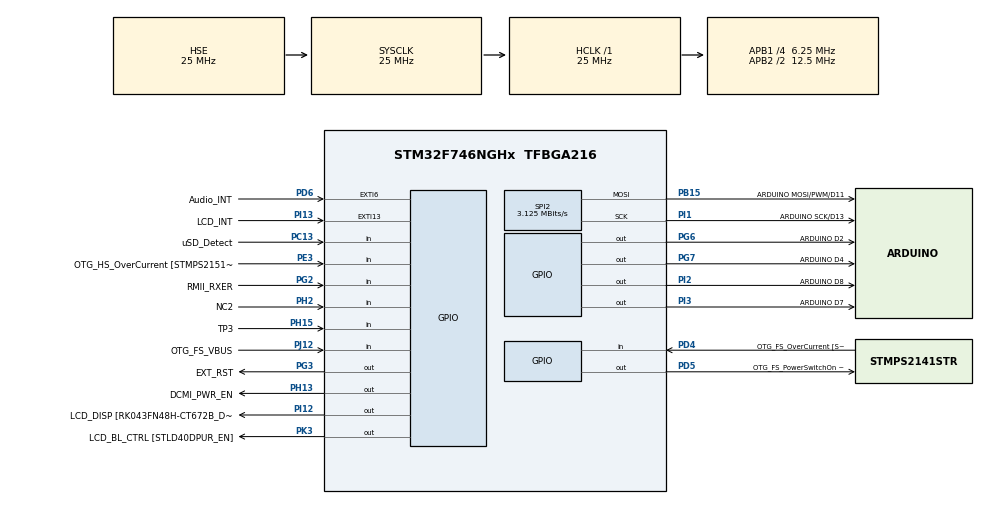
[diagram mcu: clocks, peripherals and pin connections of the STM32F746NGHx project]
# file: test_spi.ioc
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Mcu.Family=STM32F7
Mcu.Name=STM32F746NGHx
Mcu.Package=TFBGA216
NVIC.PriorityGroup=NVIC_PRIORITYGROUP_4
PA0/WKUP.GPIO_Label=ARDUINO A0
PA0/WKUP.GPIO_Mode=GPIO_MODE_ANALOG
PA0/WKUP.GPIO_PuPd=GPIO_NOPULL
PA0/WKUP.Signal=ADCx_IN0
PA1.GPIO_Label=RMII_REF_CLK [LAN8742A-CZ-TR_REFCLK0]
PA1.Signal=ETH_REF_CLK
PA10.GPIO_Label=OTG_FS_ID
PA10.Signal=USB_OTG_FS_ID
PA11.GPIO_Label=OTG_FS_N
PA11.Signal=USB_OTG_FS_DM
PA12.GPIO_Label=OTG_FS_P
PA12.Signal=USB_OTG_FS_DP
PA13.GPIO_Label=SWDIO
PA13.Signal=SYS_JTMS-SWDIO
PA14.GPIO_Label=SWCLK
PA14.Signal=SYS_JTCK-SWCLK
PA15.GPIO_Label=ARDUINO PWM/D9
PA15.GPIO_ModeDefaultPP=GPIO_MODE_AF_PP
PA15.GPIO_PuPd=GPIO_NOPULL
PA15.GPIO_Speed=GPIO_SPEED_FREQ_LOW
PA15.Signal=S_TIM2_CH1_ETR
PA2.GPIO_Label=RMII_MDIO [LAN8742A-CZ-TR_MDIO]
PA2.Signal=ETH_MDIO
PA3.GPIO_Label=ULPI_D0 [USB3320C-EZK_D0]
PA3.Signal=USB_OTG_HS_ULPI_D0
PA4.GPIO_Label=DCMI_HSYNC
PA4.Signal=DCMI_HSYNC
PA5.GPIO_Label=ULPI_CLK [USB3320C-EZK_CLKOUT]
PA5.Signal=USB_OTG_HS_ULPI_CK
PA6.Signal=DCMI_PIXCLK
PA7.GPIO_Label=RMII_CRS_DV [LAN8742A-CZ-TR_CRS_DV]
PA7.Signal=ETH_CRS_DV
PA8.GPIO_Label=ARDUINO PWM/D10
PA8.GPIO_ModeDefaultPP=GPIO_MODE_AF_PP
PA8.GPIO_PuPd=GPIO_NOPULL
PA8.GPIO_Speed=GPIO_SPEED_FREQ_LOW
PA8.Signal=S_TIM1_CH1
PA9.GPIO_Label=VCP_TX [STM32F103CBT6_PA3]
PA9.GPIO_Mode=GPIO_MODE_AF_PP
PA9.GPIO_PuPd=GPIO_NOPULL
PA9.GPIO_Speed=GPIO_SPEED_FREQ_LOW
PA9.Signal=USART1_TX
PB0.GPIO_Label=ULPI_D1 [USB3320C-EZK_D1]
PB0.Signal=USB_OTG_HS_ULPI_D1
PB1.GPIO_Label=ULPI_D2 [USB3320C-EZK_D2]
PB1.Signal=USB_OTG_HS_ULPI_D2
PB10.GPIO_Label=ULPI_D3 [USB3320C-EZK_D3]
PB10.Signal=USB_OTG_HS_ULPI_D3
PB11.GPIO_Label=ULPI_D4 [USB3320C-EZK_D4]
PB11.Signal=USB_OTG_HS_ULPI_D4
PB12.GPIO_Label=ULPI_D5 [USB3320C-EZK_D5]
PB12.Signal=USB_OTG_HS_ULPI_D5
PB13.GPIO_Label=ULPI_D6 [USB3320C-EZK_D6]
PB13.Signal=USB_OTG_HS_ULPI_D6
PB14.GPIO_Label=ARDUINO MISO/D12
PB14.GPIO_Mode=GPIO_MODE_AF_PP
PB14.GPIO_PuPd=GPIO_NOPULL
PB14.GPIO_Speed=GPIO_SPEED_FREQ_LOW
PB14.Signal=SPI2_MISO
PB15.GPIO_Label=ARDUINO MOSI/PWM/D11
PB15.GPIO_Mode=GPIO_MODE_AF_PP
PB15.GPIO_PuPd=GPIO_NOPULL
PB15.GPIO_Speed=GPIO_SPEED_FREQ_LOW
PB15.Mode=TX_Only_Simplex_Unidirect_Master
PB15.Signal=SPI2_MOSI
PB2.Signal=QUADSPI_CLK
PB3.GPIO_Label=SWO
PB3.Signal=SYS_JTDO-SWO
PB4.GPIO_Label=ARDUINO PWM/D3
PB4.GPIO_ModeDefaultPP=GPIO_MODE_AF_PP
PB4.GPIO_PuPd=GPIO_NOPULL
PB4.GPIO_Speed=GPIO_SPEED_FREQ_LOW
PB4.Signal=S_TIM3_CH1
PB5.GPIO_Label=ULPI_D7 [USB3320C-EZK_D7]
PB5.Signal=USB_OTG_HS_ULPI_D7
PB6.GPIO_Label=QSPI_NCS [N25Q128A13EF840E_S]
PB6.Signal=QUADSPI_BK1_NCS
PB7.GPIO_Label=VCP_RX [STM32F103CBT6_PA2]
PB7.GPIO_Mode=GPIO_MODE_AF_PP
PB7.GPIO_PuPd=GPIO_NOPULL
PB7.GPIO_Speed=GPIO_SPEED_FREQ_LOW
PB7.Signal=USART1_RX
PB8.GPIO_Label=ARDUINO SCL/D15
PB8.GPIO_Mode=GPIO_MODE_AF_OD
PB8.GPIO_PuPd=GPIO_NOPULL
PB8.GPIO_Speed=GPIO_SPEED_FREQ_LOW
PB8.Signal=I2C1_SCL
PB9.GPIO_Label=ARDUINO SDA/D14
PB9.GPIO_Mode=GPIO_MODE_AF_OD
PB9.GPIO_PuPd=GPIO_NOPULL
PB9.GPIO_Speed=GPIO_SPEED_FREQ_LOW
PB9.Signal=I2C1_SDA
PC0.GPIO_Label=ULPI_STP [USB3320C-EZK_STP]
PC0.Signal=USB_OTG_HS_ULPI_STP
PC1.GPIO_Label=RMII_MDC [LAN8742A-CZ-TR_MDC]
PC1.Signal=ETH_MDC
PC10.GPIO_Label=SDMMC_D2
PC10.Signal=SDMMC1_D2
PC11.GPIO_Label=SDMMC_D3
PC11.Signal=SDMMC1_D3
PC12.GPIO_Label=SDMMC_CK
PC12.Signal=SDMMC1_CK
PC13.GPIO_Label=uSD_Detect
PC13.Signal=GPIO_Input
PC14/OSC32_IN.GPIO_Label=RCC_OSC32_IN
PC14/OSC32_IN.Signal=RCC_OSC32_IN
PC15/OSC32_OUT.GPIO_Label=RCC_OSC32_OUT
PC15/OSC32_OUT.Signal=RCC_OSC32_OUT
PC2.GPIO_Label=ULPI_DIR [USB3320C-EZK_DIR]
PC2.Signal=USB_OTG_HS_ULPI_DIR
PC3.GPIO_Label=FMC_SDCKE0 [MT48LC4M32B2B5-6A_CKE]
PC3.Signal=FMC_SDCKE0
PC4.GPIO_Label=RMII_RXD0 [LAN8742A-CZ-TR_RXD0]
PC4.Signal=ETH_RXD0
PC5.GPIO_Label=RMII_RXD1 [LAN8742A-CZ-TR_RXD1]
PC5.Signal=ETH_RXD1
PC6.GPIO_Label=ARDUINO TX/D1
PC6.Signal=USART6_TX
PC7.GPIO_Label=ARDUINO RX/D0
PC7.Signal=USART6_RX
PC8.Signal=SDMMC1_D0
PC9.Signal=SDMMC1_D1
PD0.GPIO_Label=FMC_D2 [MT48LC4M32B2B5-6A_DQ2]
PD0.Signal=FMC_D2_DA2
PD1.GPIO_Label=FMC_D3 [MT48LC4M32B2B5-6A_DQ3]
PD1.Signal=FMC_D3_DA3
PD10.GPIO_Label=FMC_D15 [MT48LC4M32B2B5-6A_DQ15]
PD10.Signal=FMC_D15_DA15
PD11.GPIO_Label=QSPI_D0 [N25Q128A13EF840E_DQ0]
PD11.Signal=QUADSPI_BK1_IO0
PD12.GPIO_Label=QSPI_D1 [N25Q128A13EF840E_DQ1]
PD12.Signal=QUADSPI_BK1_IO1
PD13.GPIO_Label=QSPI_D3 [N25Q128A13EF840E_DQ3]
PD13.Signal=QUADSPI_BK1_IO3
PD14.GPIO_Label=FMC_D0 [MT48LC4M32B2B5-6A_DQ0]
PD14.Signal=FMC_D0_DA0
PD15.GPIO_Label=FMC_D1 [MT48LC4M32B2B5-6A_DQ1]
PD15.Signal=FMC_D1_DA1
PD2.GPIO_Label=SDMMC_D0
PD2.Signal=SDMMC1_CMD
PD3.GPIO_Label=DCMI_D5
PD3.Signal=DCMI_D5
PD4.GPIO_Label=OTG_FS_OverCurrent [STMPS2141STR_Fault]
PD4.Signal=GPIO_Input
PD5.GPIO_Label=OTG_FS_PowerSwitchOn [STMPS2141STR_EN]
PD5.PinState=GPIO_PIN_SET
PD5.Signal=GPIO_Output
PD6.GPIO_Label=Audio_INT
PD6.GPIO_ModeDefaultEXTI=GPIO_MODE_EVT_RISING
PD6.Signal=GPXTI6
PD7.GPIO_Label=SPDIF_RX0 [74LVC1G04SE_4]
PD7.Signal=SPDIFRX_IN0
PD8.GPIO_Label=FMC_D13 [MT48LC4M32B2B5-6A_DQ13]
PD8.Signal=FMC_D13_DA13
PD9.GPIO_Label=FMC_D14 [MT48LC4M32B2B5-6A_DQ14]
PD9.Signal=FMC_D14_DA14
PE0.GPIO_Label=FMC_NBL0 [MT48LC4M32B2B5-6A_DQM0]
PE0.Signal=FMC_NBL0
PE1.GPIO_Label=FMC_NBL1 [MT48LC4M32B2B5-6A_DQM1]
PE1.Signal=FMC_NBL1
PE10.GPIO_Label=FMC_D7 [MT48LC4M32B2B5-6A_DQ7]
PE10.Signal=FMC_D7_DA7
PE11.GPIO_Label=FMC_D8 [MT48LC4M32B2B5-6A_DQ8]
PE11.Signal=FMC_D8_DA8
PE12.GPIO_Label=FMC_D9 [MT48LC4M32B2B5-6A_DQ9]
PE12.Signal=FMC_D9_DA9
PE13.GPIO_Label=FMC_D10 [MT48LC4M32B2B5-6A_DQ10]
PE13.Signal=FMC_D10_DA10
PE14.GPIO_Label=FMC_D11 [MT48LC4M32B2B5-6A_DQ11]
PE14.Signal=FMC_D11_DA11
PE15.GPIO_Label=FMC_D12 [MT48LC4M32B2B5-6A_DQ12]
PE15.Signal=FMC_D12_DA12
PE2.GPIO_Label=QSPI_D2 [N25Q128A13EF840E_DQ2]
PE2.Signal=QUADSPI_BK1_IO2
PE3.GPIO_Label=OTG_HS_OverCurrent [STMPS2151STR_FAULT]
PE3.Signal=GPIO_Input
PE4.GPIO_Label=LCD_B0 [RK043FN48H-CT672B_B0]
PE4.Signal=LTDC_B0
PE5.GPIO_Label=DCMI_D6
PE5.Signal=DCMI_D6
PE6.GPIO_Label=DCMI_D7
PE6.Signal=DCMI_D7
PE7.GPIO_Label=FMC_D4 [MT48LC4M32B2B5-6A_DQ4]
PE7.Signal=FMC_D4_DA4
PE8.GPIO_Label=FMC_D5 [MT48LC4M32B2B5-6A_DQ5]
PE8.Signal=FMC_D5_DA5
PE9.GPIO_Label=FMC_D6 [MT48LC4M32B2B5-6A_DQ6]
PE9.Signal=FMC_D6_DA6
PF0.GPIO_Label=FMC_A0 [MT48LC4M32B2B5-6A_A0]
PF0.Signal=FMC_A0
PF1.GPIO_Label=FMC_A1 [MT48LC4M32B2B5-6A_A1]
PF1.Signal=FMC_A1
PF10.GPIO_Label=ARDUINO A1
PF10.GPIO_Mode=GPIO_MODE_ANALOG
PF10.GPIO_PuPd=GPIO_NOPULL
PF10.Signal=ADC3_IN8
PF11.GPIO_Label=FMC_SDNRAS [MT48LC4M32B2B5-6A_RAS]
PF11.Signal=FMC_SDNRAS
PF12.GPIO_Label=FMC_A6 [MT48LC4M32B2B5-6A_A6]
PF12.Signal=FMC_A6
PF13.GPIO_Label=FMC_A7 [MT48LC4M32B2B5-6A_A7]
PF13.Signal=FMC_A7
PF14.GPIO_Label=FMC_A8 [MT48LC4M32B2B5-6A_A8]
PF14.Signal=FMC_A8
PF15.GPIO_Label=FMC_A9 [MT48LC4M32B2B5-6A_A9]
PF15.Signal=FMC_A9
PF2.GPIO_Label=FMC_A2 [MT48LC4M32B2B5-6A_A2]
PF2.Signal=FMC_A2
PF3.GPIO_Label=FMC_A3 [MT48LC4M32B2B5-6A_A3]
PF3.Signal=FMC_A3
PF4.GPIO_Label=FMC_A4 [MT48LC4M32B2B5-6A_A4]
PF4.Signal=FMC_A4
PF5.GPIO_Label=FMC_A5 [MT48LC4M32B2B5-6A_A5]
PF5.Signal=FMC_A5
PF6.GPIO_Label=ARDUINO A5
PF6.GPIO_Mode=GPIO_MODE_ANALOG
PF6.GPIO_PuPd=GPIO_NOPULL
PF6.Signal=ADC3_IN4
PF7.GPIO_Label=ARDUINO A4
PF7.GPIO_Mode=GPIO_MODE_ANALOG
PF7.GPIO_PuPd=GPIO_NOPULL
PF7.Signal=ADC3_IN5
PF8.GPIO_Label=ARDUINO A3
PF8.GPIO_Mode=GPIO_MODE_ANALOG
PF8.GPIO_PuPd=GPIO_NOPULL
PF8.Signal=ADC3_IN6
PF9.GPIO_Label=ARDUINO A2
PF9.GPIO_Mode=GPIO_MODE_ANALOG
PF9.GPIO_PuPd=GPIO_NOPULL
PF9.Signal=ADC3_IN7
PG0.GPIO_Label=FMC_A10 [MT48LC4M32B2B5-6A_A10]
PG0.Signal=FMC_A10
PG1.GPIO_Label=FMC_A11 [MT48LC4M32B2B5-6A_A11]
PG1.Signal=FMC_A11
PG10.GPIO_Label=SAI2_SDB [WM8994ECS/R_ADCDAT1]
PG10.Signal=SAI2_SD_B
PG11.GPIO_Label=RMII_TX_EN [LAN8742A-CZ-TR_TXEN]
PG11.Signal=ETH_TX_EN
PG12.GPIO_Label=LCD_B4 [RK043FN48H-CT672B_B4]
PG12.Signal=LTDC_B4
PG13.GPIO_Label=RMII_TXD0 [LAN8742A-CZ-TR_TXD0]
PG13.Signal=ETH_TXD0
PG14.GPIO_Label=RMII_TXD1 [LAN8742A-CZ-TR_TXD1]
PG14.Signal=ETH_TXD1
PG15.GPIO_Label=FMC_SDNCAS [MT48LC4M32B2B5-6A_CAS]
PG15.Signal=FMC_SDNCAS
PG2.GPIO_Label=RMII_RXER
PG2.Signal=GPIO_Input
PG3.GPIO_Label=EXT_RST
PG3.Signal=GPIO_Output
PG4.GPIO_Label=FMC_BA0 [MT48LC4M32B2B5-6A_BA0]
PG4.Signal=FMC_A14_BA0
PG5.GPIO_Label=FMC_BA1 [MT48LC4M32B2B5-6A_BA1]
PG5.Signal=FMC_A15_BA1
PG6.GPIO_Label=ARDUINO D2
PG6.Signal=GPIO_Output
PG7.GPIO_Label=ARDUINO D4
PG7.Signal=GPIO_Output
PG8.GPIO_Label=FMC_SDCLK [MT48LC4M32B2B5-6A_CLK]
PG8.Signal=FMC_SDCLK
PG9.GPIO_Label=DCMI_VSYNC
PG9.Signal=DCMI_VSYNC
PH0/OSC_IN.GPIO_Label=OSC_25M [NZ2520SB-25.00M_OUT]
PH0/OSC_IN.Mode=HSE-External-Oscillator
PH0/OSC_IN.Signal=RCC_OSC_IN
PH1/OSC_OUT.Mode=HSE-External-Oscillator
PH1/OSC_OUT.Signal=RCC_OSC_OUT
PH10.GPIO_Label=DCMI_D1
PH10.Signal=DCMI_D1
PH11.GPIO_Label=DCMI_D2
PH11.Signal=DCMI_D2
PH12.GPIO_Label=DCMI_D3
PH12.Signal=DCMI_D3
PH13.GPIO_Label=DCMI_PWR_EN
PH13.Signal=GPIO_Output
PH14.GPIO_Label=DCMI_D4
PH14.Signal=DCMI_D4
PH15.GPIO_Label=TP3
PH15.Signal=GPIO_Input
PH2.GPIO_Label=NC2
PH2.Signal=GPIO_Input
PH3.GPIO_Label=FMC_SDNE0 [MT48LC4M32B2B5-6A_CS]
PH3.Signal=FMC_SDNE0
PH4.GPIO_Label=ULPI_NXT [USB3320C-EZK_NXT]
PH4.Signal=USB_OTG_HS_ULPI_NXT
PH5.GPIO_Label=FMC_SDNME [MT48LC4M32B2B5-6A_WE]
PH5.Signal=FMC_SDNWE
PH6.GPIO_Label=ARDUINO PWM/D6
PH6.Signal=S_TIM12_CH1
PH7.GPIO_Label=LCD_SCL [RK043FN48H-CT672B_SCL]
PH7.Signal=I2C3_SCL
PH8.GPIO_Label=LCD_SDA [RK043FN48H-CT672B_SDA]
PH8.Signal=I2C3_SDA
PH9.GPIO_Label=DCMI_D0
PH9.Signal=DCMI_D0
PI0.GPIO_Label=ARDUINO PWM/CS/D5
PI0.GPIO_ModeDefaultPP=GPIO_MODE_AF_PP
PI0.GPIO_PuPd=GPIO_NOPULL
PI0.GPIO_Speed=GPIO_SPEED_FREQ_LOW
PI0.Signal=S_TIM5_CH4
PI1.GPIO_Label=ARDUINO SCK/D13
PI1.GPIO_Mode=GPIO_MODE_AF_PP
PI1.GPIO_PuPd=GPIO_NOPULL
PI1.GPIO_Speed=GPIO_SPEED_FREQ_LOW
PI1.Mode=TX_Only_Simplex_Unidirect_Master
PI1.Signal=SPI2_SCK
PI10.GPIO_Label=LCD_HSYNC [RK043FN48H-CT672B_HSYNC]
PI10.Signal=LTDC_HSYNC
PI12.GPIO_Label=LCD_DISP [RK043FN48H-CT672B_DISP] 
PI12.Signal=GPIO_Output
PI13.GPIO_Label=LCD_INT
PI13.GPIO_ModeDefaultEXTI=GPIO_MODE_EVT_RISING
PI13.Signal=GPXTI13
PI14.GPIO_Label=LCD_CLK [RK043FN48H-CT672B_CLK]
PI14.Signal=LTDC_CLK
PI15.GPIO_Label=LCD_R0 [RK043FN48H-CT672B_R0]
PI15.Signal=LTDC_R0
PI2.GPIO_Label=ARDUINO D8
PI2.Signal=GPIO_Output
PI3.GPIO_Label=ARDUINO D7
PI3.Signal=GPIO_Output
PI4.GPIO_Label=SAI2_MCLKA [WM8994ECS/R_MCLK1]
PI4.Signal=SAI2_MCLK_A
PI5.GPIO_Label=SAI2_SCKA [WM8994ECS/R_BCLK1]
PI5.Signal=SAI2_SCK_A
PI6.GPIO_Label=SAI2_SDA [WM8994ECS/R_DACDAT1]
PI6.Signal=SAI2_SD_A
PI7.GPIO_Label=SAI2_FSA [WM8994ECS/R_LRCLK1]
PI7.Signal=SAI2_FS_A
PI8.GPIO_Label=NC1 [TP2]
PI8.Signal=RTC_TS
PI9.GPIO_Label=LCD_VSYNC [RK043FN48H-CT672B_VSYNC]
PI9.Signal=LTDC_VSYNC
PJ0.GPIO_Label=LCD_R1 [RK043FN48H-CT672B_R1]
PJ0.Signal=LTDC_R1
PJ1.GPIO_Label=LCD_R2 [RK043FN48H-CT672B_R2]
PJ1.Signal=LTDC_R2
PJ10.GPIO_Label=LCD_G3 [RK043FN48H-CT672B_G3]
PJ10.Signal=LTDC_G3
PJ11.GPIO_Label=LCD_G4 [RK043FN48H-CT672B_G4]
PJ11.Signal=LTDC_G4
PJ12.GPIO_Label=OTG_FS_VBUS
PJ12.Signal=GPIO_Input
PJ13.GPIO_Label=LCD_B1 [RK043FN48H-CT672B_B1]
PJ13.Signal=LTDC_B1
PJ14.GPIO_Label=LCD_B2 [RK043FN48H-CT672B_B2]
PJ14.Signal=LTDC_B2
PJ15.GPIO_Label=LCD_B3 [RK043FN48H-CT672B_B3]
PJ15.Signal=LTDC_B3
PJ2.GPIO_Label=LCD_R3 [RK043FN48H-CT672B_R3]
PJ2.Signal=LTDC_R3
PJ3.GPIO_Label=LCD_R4 [RK043FN48H-CT672B_R4]
PJ3.Signal=LTDC_R4
PJ4.GPIO_Label=LCD_R5 [RK043FN48H-CT672B_R5]
PJ4.Signal=LTDC_R5
PJ5.GPIO_Label=LCD_R6 [RK043FN48H-CT672B_R6]
PJ5.Signal=LTDC_R6
PJ6.GPIO_Label=LCD_R7 [RK043FN48H-CT672B_R7]
PJ6.Signal=LTDC_R7
PJ7.GPIO_Label=LCD_G0 [RK043FN48H-CT672B_G0]
PJ7.Signal=LTDC_G0
PJ8.GPIO_Label=LCD_G1 [RK043FN48H-CT672B_G1]
PJ8.Signal=LTDC_G1
PJ9.GPIO_Label=LCD_G2 [RK043FN48H-CT672B_G2]
PJ9.Signal=LTDC_G2
PK0.GPIO_Label=LCD_G5 [RK043FN48H-CT672B_G5]
PK0.Signal=LTDC_G5
PK1.GPIO_Label=LCD_G6 [RK043FN48H-CT672B_G6]
PK1.Signal=LTDC_G6
PK2.GPIO_Label=LCD_G7 [RK043FN48H-CT672B_G7]
PK2.Signal=LTDC_G7
PK3.GPIO_Label=LCD_BL_CTRL [STLD40DPUR_EN]
PK3.Signal=GPIO_Output
PK4.GPIO_Label=LCD_B5 [RK043FN48H-CT672B_B5]
PK4.Signal=LTDC_B5
PK5.GPIO_Label=LCD_B6 [RK043FN48H-CT672B_B6]
PK5.Signal=LTDC_B6
PK6.GPIO_Label=LCD_B7 [RK043FN48H-CT672B_B7]
PK6.Signal=LTDC_B7
PK7.GPIO_Label=LCD_DE [RK043FN48H-CT672B_DE]
PK7.Signal=LTDC_DE
ProjectManager.HeapSize=0x200
ProjectManager.StackSize=0x400
ProjectManager.TargetToolchain=TrueSTUDIO
RCC.AHBFreq_Value=25000000
RCC.APB1CLKDivider=RCC_HCLK_DIV4
RCC.APB1Freq_Value=6250000
RCC.APB1TimFreq_Value=12500000
RCC.APB2CLKDivider=RCC_HCLK_DIV2
RCC.APB2Freq_Value=12500000
RCC.APB2TimFreq_Value=25000000
RCC.CortexFreq_Value=25000000
RCC.HCLKFreq_Value=25000000
RCC.HSE_VALUE=25000000
RCC.HSI_VALUE=16000000
RCC.LSE_VALUE=32768
RCC.PLLM=10
RCC.PLLN=210
RCC.PLLSourceVirtual=RCC_PLLSOURCE_HSI
RCC.SYSCLKFreq_VALUE=25000000
RCC.SYSCLKSource=RCC_SYSCLKSOURCE_HSE
RCC.USBFreq_Value=168000000
RCC.VCOOutputFreq_Value=336000000
SH.ADCx_IN0.0=ADC3_IN0
SH.FMC_A0.0=FMC_A0
SH.FMC_A1.0=FMC_A1
SH.FMC_A10.0=FMC_A10
SH.FMC_A11.0=FMC_A11
SH.FMC_A14_BA0.0=FMC_BA0
SH.FMC_A15_BA1.0=FMC_BA1
SH.FMC_A2.0=FMC_A2
SH.FMC_A3.0=FMC_A3
SH.FMC_A4.0=FMC_A4
SH.FMC_A5.0=FMC_A5
SH.FMC_A6.0=FMC_A6
SH.FMC_A7.0=FMC_A7
SH.FMC_A8.0=FMC_A8
SH.FMC_A9.0=FMC_A9
SH.FMC_D0_DA0.0=FMC_D0
SH.FMC_D10_DA10.0=FMC_D10
SH.FMC_D11_DA11.0=FMC_D11
SH.FMC_D12_DA12.0=FMC_D12
SH.FMC_D13_DA13.0=FMC_D13
SH.FMC_D14_DA14.0=FMC_D14
SH.FMC_D15_DA15.0=FMC_D15
SH.FMC_D1_DA1.0=FMC_D1
SH.FMC_D2_DA2.0=FMC_D2
SH.FMC_D3_DA3.0=FMC_D3
SH.FMC_D4_DA4.0=FMC_D4
SH.FMC_D5_DA5.0=FMC_D5
SH.FMC_D6_DA6.0=FMC_D6
SH.FMC_D7_DA7.0=FMC_D7
SH.FMC_D8_DA8.0=FMC_D8
SH.FMC_D9_DA9.0=FMC_D9
SH.FMC_NBL0.0=FMC_NBL0
SH.FMC_NBL1.0=FMC_NBL1
SH.FMC_SDCLK.0=FMC_SDCLK
SH.FMC_SDNCAS.0=FMC_SDNCAS
SH.FMC_SDNRAS.0=FMC_SDNRAS
SH.FMC_SDNWE.0=FMC_SDNWE
SH.S_TIM12_CH1.0=TIM12_CH1
SH.S_TIM1_CH1.0=TIM1_CH1
SH.S_TIM2_CH1_ETR.0=TIM2_CH1
SH.S_TIM3_CH1.0=TIM3_CH1
SH.S_TIM5_CH4.0=TIM5_CH4
SPI2.CalculateBaudRate=3.125 MBits/s
SPI2.DataSize=SPI_DATASIZE_8BIT
SPI2.Direction=SPI_DIRECTION_2LINES
SPI2.Mode=SPI_MODE_MASTER
SPI2.VirtualType=VM_MASTER
board=STM32F746G-DISCO

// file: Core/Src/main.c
/* USER CODE BEGIN Header */
/**
  ******************************************************************************
  * @file           : main.c
  * @brief          : Main program body
  ******************************************************************************
  * @attention
  *
  * <h2><center>&copy; Copyright (c) 2021 STMicroelectronics.
  * All rights reserved.</center></h2>
  *
  * This software component is licensed by ST under BSD 3-Clause license,
  * the "License"; You may not use this file except in compliance with the
  * License. You may obtain a copy of the License at:
  *                        opensource.org/licenses/BSD-3-Clause
  *
  ******************************************************************************
  */
/* USER CODE END Header */
#include "main.h"

/* USER CODE BEGIN Includes */
#include "stm32f7xx_hal_rcc.h"
/* USER CODE END Includes */

SPI_HandleTypeDef hspi2;

void SystemClock_Config(void);
static void MX_GPIO_Init(void);
static void MX_SPI2_Init(void);

int main(void)
{

  /* MCU Configuration--------------------------------------------------------*/

  /* Reset of all peripherals, Initializes the Flash interface and the Systick. */
  HAL_Init();

  /* Configure the system clock */
  SystemClock_Config();

  /* Initialize all configured peripherals */
  MX_GPIO_Init();
  MX_SPI2_Init();
  /* USER CODE BEGIN 2 */

  RCC_APB2PeriphClockCmd(RCC_APB2Periph_GPIOB, ENABLE);
  RCC_APB2PeriphClockCmd(RCC_APB2Periph_SPI2, ENABLE);

	GPIO_InitTypeDef GPIO_InitStructure;
	SPI_InitTypeDef SPI_InitStructure;

	volatile uint32_t i;
	RCC_APB2PeriphClockCmd(RCC_APB2Periph_GPIOB| RCC_APB2Periph_AFIO, ENABLE);
	RCC_APB1PeriphClockCmd(RCC_APB1Periph_SPI2, ENABLE);

	GPIO_InitStructure.GPIO_Pin = GPIO_Pin_13 | GPIO_Pin_14 | GPIO_Pin_15;
	GPIO_InitStructure.GPIO_Speed = GPIO_Speed_50MHz;
	GPIO_InitStructure.GPIO_Mode = GPIO_Mode_AF_PP;
	GPIO_Init(GPIOB, &GPIO_InitStructure);

	GPIO_InitStructure.GPIO_Mode = GPIO_Mode_Out_PP;
	GPIO_InitStructure.GPIO_Pin = GPIO_Pin_12;
	GPIO_Init(GPIOB, &GPIO_InitStructure);
	GPIO_SetBits(GPIOB, GPIO_Pin_12);

	SPI_InitStructure.SPI_Direction = SPI_Direction_1Line_Tx;
	SPI_InitStructure.SPI_Mode = SPI_Mode_Master;
	SPI_InitStructure.SPI_DataSize = SPI_DataSize_8b;
	SPI_InitStructure.SPI_CPOL = SPI_CPOL_Low;
	SPI_InitStructure.SPI_CPHA = SPI_CPHA_1Edge;
	SPI_InitStructure.SPI_NSS = SPI_NSS_Soft;
	SPI_InitStructure.SPI_BaudRatePrescaler = SPI_BaudRatePrescaler_2;
	SPI_InitStructure.SPI_FirstBit = SPI_FirstBit_MSB;
	SPI_InitStructure.SPI_CRCPolynomial = 7;
	SPI_Init(SPI2, &SPI_InitStructure);
	SPI_Cmd(SPI2, ENABLE);

	while(1){
		for(i = 0; i < 1000000UL; i++){
			while (SPI_I2S_GetFlagStatus(SPI2, SPI_I2S_FLAG_TXE) == RESET);
			SPI_I2S_SendData(SPI2, 0x1);
		}
		for(i = 0; i < 1000000UL; i++){
			while (SPI_I2S_GetFlagStatus(SPI2, SPI_I2S_FLAG_TXE) == RESET);
			SPI_I2S_SendData(SPI2, 0x0);
		}
	 }

  /* USER CODE END 2 */

  /* Infinite loop */
  while (1)
  {

  }
}

void SystemClock_Config(void)
{
  RCC_OscInitTypeDef RCC_OscInitStruct = {0};
  RCC_ClkInitTypeDef RCC_ClkInitStruct = {0};

  /** Configure the main internal regulator output voltage
  */
  __HAL_RCC_PWR_CLK_ENABLE();
  __HAL_PWR_VOLTAGESCALING_CONFIG(PWR_REGULATOR_VOLTAGE_SCALE3);
  /** Initializes the RCC Oscillators according to the specified parameters
  * in the RCC_OscInitTypeDef structure.
  */
  RCC_OscInitStruct.OscillatorType = RCC_OSCILLATORTYPE_HSE;
  RCC_OscInitStruct.HSEState = RCC_HSE_ON;
  RCC_OscInitStruct.PLL.PLLState = RCC_PLL_NONE;
  if (HAL_RCC_OscConfig(&RCC_OscInitStruct) != HAL_OK)
  {
    Error_Handler();
  }
  /** Initializes the CPU, AHB and APB buses clocks
  */
  RCC_ClkInitStruct.ClockType = RCC_CLOCKTYPE_HCLK|RCC_CLOCKTYPE_SYSCLK
                              |RCC_CLOCKTYPE_PCLK1|RCC_CLOCKTYPE_PCLK2;
  RCC_ClkInitStruct.SYSCLKSource = RCC_SYSCLKSOURCE_HSE;
  RCC_ClkInitStruct.AHBCLKDivider = RCC_SYSCLK_DIV1;
  RCC_ClkInitStruct.APB1CLKDivider = RCC_HCLK_DIV4;
  RCC_ClkInitStruct.APB2CLKDivider = RCC_HCLK_DIV2;

  if (HAL_RCC_ClockConfig(&RCC_ClkInitStruct, FLASH_LATENCY_0) != HAL_OK)
  {
    Error_Handler();
  }
}

static void MX_SPI2_Init(void)
{

  /* SPI2 parameter configuration*/
  hspi2.Instance = SPI2;
  hspi2.Init.Mode = SPI_MODE_MASTER;
  hspi2.Init.Direction = SPI_DIRECTION_2LINES;
  hspi2.Init.DataSize = SPI_DATASIZE_8BIT;
  hspi2.Init.CLKPolarity = SPI_POLARITY_LOW;
  hspi2.Init.CLKPhase = SPI_PHASE_1EDGE;
  hspi2.Init.NSS = SPI_NSS_SOFT;
  hspi2.Init.BaudRatePrescaler = SPI_BAUDRATEPRESCALER_2;
  hspi2.Init.FirstBit = SPI_FIRSTBIT_MSB;
  hspi2.Init.TIMode = SPI_TIMODE_DISABLE;
  hspi2.Init.CRCCalculation = SPI_CRCCALCULATION_DISABLE;
  hspi2.Init.CRCPolynomial = 7;
  hspi2.Init.CRCLength = SPI_CRC_LENGTH_DATASIZE;
  hspi2.Init.NSSPMode = SPI_NSS_PULSE_ENABLE;
  if (HAL_SPI_Init(&hspi2) != HAL_OK)
  {
    Error_Handler();
  }

}

static void MX_GPIO_Init(void)
{
  GPIO_InitTypeDef GPIO_InitStruct = {0};

  /* GPIO Ports Clock Enable */
  __HAL_RCC_GPIOE_CLK_ENABLE();
  __HAL_RCC_GPIOG_CLK_ENABLE();
  __HAL_RCC_GPIOB_CLK_ENABLE();
  __HAL_RCC_GPIOD_CLK_ENABLE();
  __HAL_RCC_GPIOC_CLK_ENABLE();
  __HAL_RCC_GPIOA_CLK_ENABLE();
  __HAL_RCC_GPIOJ_CLK_ENABLE();
  __HAL_RCC_GPIOI_CLK_ENABLE();
  __HAL_RCC_GPIOK_CLK_ENABLE();
  __HAL_RCC_GPIOF_CLK_ENABLE();
  __HAL_RCC_GPIOH_CLK_ENABLE();

  /*Configure GPIO pin Output Level */
  HAL_GPIO_WritePin(OTG_FS_PowerSwitchOn_GPIO_Port, OTG_FS_PowerSwitchOn_Pin, GPIO_PIN_SET);

  /*Configure GPIO pin Output Level */
  HAL_GPIO_WritePin(GPIOI, ARDUINO_D7_Pin|ARDUINO_D8_Pin|LCD_DISP_Pin, GPIO_PIN_RESET);

  /*Configure GPIO pin Output Level */
  HAL_GPIO_WritePin(LCD_BL_CTRL_GPIO_Port, LCD_BL_CTRL_Pin, GPIO_PIN_RESET);

  /*Configure GPIO pin Output Level */
  HAL_GPIO_WritePin(DCMI_PWR_EN_GPIO_Port, DCMI_PWR_EN_Pin, GPIO_PIN_RESET);

  /*Configure GPIO pin Output Level */
  HAL_GPIO_WritePin(GPIOG, ARDUINO_D4_Pin|ARDUINO_D2_Pin|EXT_RST_Pin, GPIO_PIN_RESET);

  /*Configure GPIO pin : LCD_B0_Pin */
  GPIO_InitStruct.Pin = LCD_B0_Pin;
  GPIO_InitStruct.Mode = GPIO_MODE_AF_PP;
  GPIO_InitStruct.Pull = GPIO_NOPULL;
  GPIO_InitStruct.Speed = GPIO_SPEED_FREQ_LOW;
  GPIO_InitStruct.Alternate = GPIO_AF14_LTDC;
  HAL_GPIO_Init(LCD_B0_GPIO_Port, &GPIO_InitStruct);

  /*Configure GPIO pin : OTG_HS_OverCurrent_Pin */
  GPIO_InitStruct.Pin = OTG_HS_OverCurrent_Pin;
  GPIO_InitStruct.Mode = GPIO_MODE_INPUT;
  GPIO_InitStruct.Pull = GPIO_NOPULL;
  HAL_GPIO_Init(OTG_HS_OverCurrent_GPIO_Port, &GPIO_InitStruct);

  /*Configure GPIO pin : QSPI_D2_Pin */
  GPIO_InitStruct.Pin = QSPI_D2_Pin;
  GPIO_InitStruct.Mode = GPIO_MODE_AF_PP;
  GPIO_InitStruct.Pull = GPIO_NOPULL;
  GPIO_InitStruct.Speed = GPIO_SPEED_FREQ_VERY_HIGH;
  GPIO_InitStruct.Alternate = GPIO_AF9_QUADSPI;
  HAL_GPIO_Init(QSPI_D2_GPIO_Port, &GPIO_InitStruct);

  /*Configure GPIO pins : RMII_TXD1_Pin RMII_TXD0_Pin RMII_TX_EN_Pin */
  GPIO_InitStruct.Pin = RMII_TXD1_Pin|RMII_TXD0_Pin|RMII_TX_EN_Pin;
  GPIO_InitStruct.Mode = GPIO_MODE_AF_PP;
  GPIO_InitStruct.Pull = GPIO_NOPULL;
  GPIO_InitStruct.Speed = GPIO_SPEED_FREQ_VERY_HIGH;
  GPIO_InitStruct.Alternate = GPIO_AF11_ETH;
  HAL_GPIO_Init(GPIOG, &GPIO_InitStruct);

  /*Configure GPIO pins : FMC_NBL1_Pin FMC_NBL0_Pin FMC_D5_Pin FMC_D6_Pin
                           FMC_D8_Pin FMC_D11_Pin FMC_D4_Pin FMC_D7_Pin
                           FMC_D9_Pin FMC_D12_Pin FMC_D10_Pin */
  GPIO_InitStruct.Pin = FMC_NBL1_Pin|FMC_NBL0_Pin|FMC_D5_Pin|FMC_D6_Pin
                          |FMC_D8_Pin|FMC_D11_Pin|FMC_D4_Pin|FMC_D7_Pin
                          |FMC_D9_Pin|FMC_D12_Pin|FMC_D10_Pin;
  GPIO_InitStruct.Mode = GPIO_MODE_AF_PP;
  GPIO_InitStruct.Pull = GPIO_NOPULL;
  GPIO_InitStruct.Speed = GPIO_SPEED_FREQ_VERY_HIGH;
  GPIO_InitStruct.Alternate = GPIO_AF12_FMC;
  HAL_GPIO_Init(GPIOE, &GPIO_InitStruct);

  /*Configure GPIO pins : ARDUINO_SCL_D15_Pin ARDUINO_SDA_D14_Pin */
  GPIO_InitStruct.Pin = ARDUINO_SCL_D15_Pin|ARDUINO_SDA_D14_Pin;
  GPIO_InitStruct.Mode = GPIO_MODE_AF_OD;
  GPIO_InitStruct.Pull = GPIO_PULLUP;
  GPIO_InitStruct.Speed = GPIO_SPEED_FREQ_LOW;
  GPIO_InitStruct.Alternate = GPIO_AF4_I2C1;
  HAL_GPIO_Init(GPIOB, &GPIO_InitStruct);

  /*Configure GPIO pins : ULPI_D7_Pin ULPI_D6_Pin ULPI_D5_Pin ULPI_D3_Pin
                           ULPI_D2_Pin ULPI_D1_Pin ULPI_D4_Pin */
  GPIO_InitStruct.Pin = ULPI_D7_Pin|ULPI_D6_Pin|ULPI_D5_Pin|ULPI_D3_Pin
                          |ULPI_D2_Pin|ULPI_D1_Pin|ULPI_D4_Pin;
  GPIO_InitStruct.Mode = GPIO_MODE_AF_PP;
  GPIO_InitStruct.Pull = GPIO_NOPULL;
  GPIO_InitStruct.Speed = GPIO_SPEED_FREQ_VERY_HIGH;
  GPIO_InitStruct.Alternate = GPIO_AF10_OTG_HS;
  HAL_GPIO_Init(GPIOB, &GPIO_InitStruct);

  /*Configure GPIO pin : ARDUINO_PWM_D3_Pin */
  GPIO_InitStruct.Pin = ARDUINO_PWM_D3_Pin;
  GPIO_InitStruct.Mode = GPIO_MODE_AF_PP;
  GPIO_InitStruct.Pull = GPIO_NOPULL;
  GPIO_InitStruct.Speed = GPIO_SPEED_FREQ_LOW;
  GPIO_InitStruct.Alternate = GPIO_AF2_TIM3;
  HAL_GPIO_Init(ARDUINO_PWM_D3_GPIO_Port, &GPIO_InitStruct);

  /*Configure GPIO pin : SPDIF_RX0_Pin */
  GPIO_InitStruct.Pin = SPDIF_RX0_Pin;
  GPIO_InitStruct.Mode = GPIO_MODE_AF_PP;
  GPIO_InitStruct.Pull = GPIO_NOPULL;
  GPIO_InitStruct.Speed = GPIO_SPEED_FREQ_LOW;
  GPIO_InitStruct.Alternate = GPIO_AF8_SPDIFRX;
  HAL_GPIO_Init(SPDIF_RX0_GPIO_Port, &GPIO_InitStruct);

  /*Configure GPIO pins : SDMMC_CK_Pin SDMMC_D3_Pin SDMMC_D2_Pin PC9
                           PC8 */
  GPIO_InitStruct.Pin = SDMMC_CK_Pin|SDMMC_D3_Pin|SDMMC_D2_Pin|GPIO_PIN_9
                          |GPIO_PIN_8;
  GPIO_InitStruct.Mode = GPIO_MODE_AF_PP;
  GPIO_InitStruct.Pull = GPIO_NOPULL;
  GPIO_InitStruct.Speed = GPIO_SPEED_FREQ_VERY_HIGH;
  GPIO_InitStruct.Alternate = GPIO_AF12_SDMMC1;
  HAL_GPIO_Init(GPIOC, &GPIO_InitStruct);

  /*Configure GPIO pin : ARDUINO_PWM_D9_Pin */
  GPIO_InitStruct.Pin = ARDUINO_PWM_D9_Pin;
  GPIO_InitStruct.Mode = GPIO_MODE_AF_PP;
  GPIO_InitStruct.Pull = GPIO_NOPULL;
  GPIO_InitStruct.Speed = GPIO_SPEED_FREQ_LOW;
  GPIO_InitStruct.Alternate = GPIO_AF1_TIM2;
  HAL_GPIO_Init(ARDUINO_PWM_D9_GPIO_Port, &GPIO_InitStruct);

  /*Configure GPIO pins : DCMI_D6_Pin DCMI_D7_Pin */
  GPIO_InitStruct.Pin = DCMI_D6_Pin|DCMI_D7_Pin;
  GPIO_InitStruct.Mode = GPIO_MODE_AF_PP;
  GPIO_InitStruct.Pull = GPIO_NOPULL;
  GPIO_InitStruct.Speed = GPIO_SPEED_FREQ_LOW;
  GPIO_InitStruct.Alternate = GPIO_AF13_DCMI;
  HAL_GPIO_Init(GPIOE, &GPIO_InitStruct);

  /*Configure GPIO pin : VCP_RX_Pin */
  GPIO_InitStruct.Pin = VCP_RX_Pin;
  GPIO_InitStruct.Mode = GPIO_MODE_AF_PP;
  GPIO_InitStruct.Pull = GPIO_NOPULL;
  GPIO_InitStruct.Speed = GPIO_SPEED_FREQ_LOW;
  GPIO_InitStruct.Alternate = GPIO_AF7_USART1;
  HAL_GPIO_Init(VCP_RX_GPIO_Port, &GPIO_InitStruct);

  /*Configure GPIO pin : QSPI_NCS_Pin */
  GPIO_InitStruct.Pin = QSPI_NCS_Pin;
  GPIO_InitStruct.Mode = GPIO_MODE_AF_PP;
  GPIO_InitStruct.Pull = GPIO_NOPULL;
  GPIO_InitStruct.Speed = GPIO_SPEED_FREQ_VERY_HIGH;
  GPIO_InitStruct.Alternate = GPIO_AF10_QUADSPI;
  HAL_GPIO_Init(QSPI_NCS_GPIO_Port, &GPIO_InitStruct);

  /*Configure GPIO pins : FMC_SDNCAS_Pin FMC_SDCLK_Pin FMC_A11_Pin FMC_A10_Pin
                           FMC_BA1_Pin FMC_BA0_Pin */
  GPIO_InitStruct.Pin = FMC_SDNCAS_Pin|FMC_SDCLK_Pin|FMC_A11_Pin|FMC_A10_Pin
                          |FMC_BA1_Pin|FMC_BA0_Pin;
  GPIO_InitStruct.Mode = GPIO_MODE_AF_PP;
  GPIO_InitStruct.Pull = GPIO_NOPULL;
  GPIO_InitStruct.Speed = GPIO_SPEED_FREQ_VERY_HIGH;
  GPIO_InitStruct.Alternate = GPIO_AF12_FMC;
  HAL_GPIO_Init(GPIOG, &GPIO_InitStruct);

  /*Configure GPIO pins : LCD_B1_Pin LCD_B2_Pin LCD_B3_Pin LCD_G4_Pin
                           LCD_G1_Pin LCD_G3_Pin LCD_G0_Pin LCD_G2_Pin
                           LCD_R7_Pin LCD_R5_Pin LCD_R6_Pin LCD_R4_Pin
                           LCD_R3_Pin LCD_R1_Pin LCD_R2_Pin */
  GPIO_InitStruct.Pin = LCD_B1_Pin|LCD_B2_Pin|LCD_B3_Pin|LCD_G4_Pin
                          |LCD_G1_Pin|LCD_G3_Pin|LCD_G0_Pin|LCD_G2_Pin
                          |LCD_R7_Pin|LCD_R5_Pin|LCD_R6_Pin|LCD_R4_Pin
                          |LCD_R3_Pin|LCD_R1_Pin|LCD_R2_Pin;
  GPIO_InitStruct.Mode = GPIO_MODE_AF_PP;
  GPIO_InitStruct.Pull = GPIO_NOPULL;
  GPIO_InitStruct.Speed = GPIO_SPEED_FREQ_LOW;
  GPIO_InitStruct.Alternate = GPIO_AF14_LTDC;
  HAL_GPIO_Init(GPIOJ, &GPIO_InitStruct);

  /*Configure GPIO pin : OTG_FS_VBUS_Pin */
  GPIO_InitStruct.Pin = OTG_FS_VBUS_Pin;
  GPIO_InitStruct.Mode = GPIO_MODE_INPUT;
  GPIO_InitStruct.Pull = GPIO_NOPULL;
  HAL_GPIO_Init(OTG_FS_VBUS_GPIO_Port, &GPIO_InitStruct);

  /*Configure GPIO pin : Audio_INT_Pin */
  GPIO_InitStruct.Pin = Audio_INT_Pin;
  GPIO_InitStruct.Mode = GPIO_MODE_EVT_RISING;
  GPIO_InitStruct.Pull = GPIO_NOPULL;
  HAL_GPIO_Init(Audio_INT_GPIO_Port, &GPIO_InitStruct);

  /*Configure GPIO pins : FMC_D2_Pin FMC_D3_Pin FMC_D1_Pin FMC_D15_Pin
                           FMC_D0_Pin FMC_D14_Pin FMC_D13_Pin */
  GPIO_InitStruct.Pin = FMC_D2_Pin|FMC_D3_Pin|FMC_D1_Pin|FMC_D15_Pin
                          |FMC_D0_Pin|FMC_D14_Pin|FMC_D13_Pin;
  GPIO_InitStruct.Mode = GPIO_MODE_AF_PP;
  GPIO_InitStruct.Pull = GPIO_NOPULL;
  GPIO_InitStruct.Speed = GPIO_SPEED_FREQ_VERY_HIGH;
  GPIO_InitStruct.Alternate = GPIO_AF12_FMC;
  HAL_GPIO_Init(GPIOD, &GPIO_InitStruct);

  /*Configure GPIO pins : OTG_FS_P_Pin OTG_FS_N_Pin OTG_FS_ID_Pin */
  GPIO_InitStruct.Pin = OTG_FS_P_Pin|OTG_FS_N_Pin|OTG_FS_ID_Pin;
  GPIO_InitStruct.Mode = GPIO_MODE_AF_PP;
  GPIO_InitStruct.Pull = GPIO_NOPULL;
  GPIO_InitStruct.Speed = GPIO_SPEED_FREQ_VERY_HIGH;
  GPIO_InitStruct.Alternate = GPIO_AF10_OTG_FS;
  HAL_GPIO_Init(GPIOA, &GPIO_InitStruct);

  /*Configure GPIO pins : SAI2_MCLKA_Pin SAI2_SCKA_Pin SAI2_FSA_Pin SAI2_SDA_Pin */
  GPIO_InitStruct.Pin = SAI2_MCLKA_Pin|SAI2_SCKA_Pin|SAI2_FSA_Pin|SAI2_SDA_Pin;
  GPIO_InitStruct.Mode = GPIO_MODE_AF_PP;
  GPIO_InitStruct.Pull = GPIO_NOPULL;
  GPIO_InitStruct.Speed = GPIO_SPEED_FREQ_LOW;
  GPIO_InitStruct.Alternate = GPIO_AF10_SAI2;
  HAL_GPIO_Init(GPIOI, &GPIO_InitStruct);

  /*Configure GPIO pins : LCD_DE_Pin LCD_B7_Pin LCD_B6_Pin LCD_B5_Pin
                           LCD_G6_Pin LCD_G7_Pin LCD_G5_Pin */
  GPIO_InitStruct.Pin = LCD_DE_Pin|LCD_B7_Pin|LCD_B6_Pin|LCD_B5_Pin
                          |LCD_G6_Pin|LCD_G7_Pin|LCD_G5_Pin;
  GPIO_InitStruct.Mode = GPIO_MODE_AF_PP;
  GPIO_InitStruct.Pull = GPIO_NOPULL;
  GPIO_InitStruct.Speed = GPIO_SPEED_FREQ_LOW;
  GPIO_InitStruct.Alternate = GPIO_AF14_LTDC;
  HAL_GPIO_Init(GPIOK, &GPIO_InitStruct);

  /*Configure GPIO pin : LCD_B4_Pin */
  GPIO_InitStruct.Pin = LCD_B4_Pin;
  GPIO_InitStruct.Mode = GPIO_MODE_AF_PP;
  GPIO_InitStruct.Pull = GPIO_NOPULL;
  GPIO_InitStruct.Speed = GPIO_SPEED_FREQ_LOW;
  GPIO_InitStruct.Alternate = GPIO_AF9_LTDC;
  HAL_GPIO_Init(LCD_B4_GPIO_Port, &GPIO_InitStruct);

  /*Configure GPIO pin : SAI2_SDB_Pin */
  GPIO_InitStruct.Pin = SAI2_SDB_Pin;
  GPIO_InitStruct.Mode = GPIO_MODE_AF_PP;
  GPIO_InitStruct.Pull = GPIO_NOPULL;
  GPIO_InitStruct.Speed = GPIO_SPEED_FREQ_LOW;
  GPIO_InitStruct.Alternate = GPIO_AF10_SAI2;
  HAL_GPIO_Init(SAI2_SDB_GPIO_Port, &GPIO_InitStruct);

  /*Configure GPIO pin : OTG_FS_PowerSwitchOn_Pin */
  GPIO_InitStruct.Pin = OTG_FS_PowerSwitchOn_Pin;
  GPIO_InitStruct.Mode = GPIO_MODE_OUTPUT_PP;
  GPIO_InitStruct.Pull = GPIO_NOPULL;
  GPIO_InitStruct.Speed = GPIO_SPEED_FREQ_LOW;
  HAL_GPIO_Init(OTG_FS_PowerSwitchOn_GPIO_Port, &GPIO_InitStruct);

  /*Configure GPIO pin : DCMI_D5_Pin */
  GPIO_InitStruct.Pin = DCMI_D5_Pin;
  GPIO_InitStruct.Mode = GPIO_MODE_AF_PP;
  GPIO_InitStruct.Pull = GPIO_NOPULL;
  GPIO_InitStruct.Speed = GPIO_SPEED_FREQ_LOW;
  GPIO_InitStruct.Alternate = GPIO_AF13_DCMI;
  HAL_GPIO_Init(DCMI_D5_GPIO_Port, &GPIO_InitStruct);

  /*Configure GPIO pins : ARDUINO_D7_Pin ARDUINO_D8_Pin LCD_DISP_Pin */
  GPIO_InitStruct.Pin = ARDUINO_D7_Pin|ARDUINO_D8_Pin|LCD_DISP_Pin;
  GPIO_InitStruct.Mode = GPIO_MODE_OUTPUT_PP;
  GPIO_InitStruct.Pull = GPIO_NOPULL;
  GPIO_InitStruct.Speed = GPIO_SPEED_FREQ_LOW;
  HAL_GPIO_Init(GPIOI, &GPIO_InitStruct);

  /*Configure GPIO pin : uSD_Detect_Pin */
  GPIO_InitStruct.Pin = uSD_Detect_Pin;
  GPIO_InitStruct.Mode = GPIO_MODE_INPUT;
  GPIO_InitStruct.Pull = GPIO_NOPULL;
  HAL_GPIO_Init(uSD_Detect_GPIO_Port, &GPIO_InitStruct);

  /*Configure GPIO pins : FMC_A0_Pin FMC_A1_Pin FMC_A2_Pin FMC_A3_Pin
                           FMC_A4_Pin FMC_A5_Pin FMC_A6_Pin FMC_A9_Pin
                           FMC_A7_Pin FMC_A8_Pin FMC_SDNRAS_Pin */
  GPIO_InitStruct.Pin = FMC_A0_Pin|FMC_A1_Pin|FMC_A2_Pin|FMC_A3_Pin
                          |FMC_A4_Pin|FMC_A5_Pin|FMC_A6_Pin|FMC_A9_Pin
                          |FMC_A7_Pin|FMC_A8_Pin|FMC_SDNRAS_Pin;
  GPIO_InitStruct.Mode = GPIO_MODE_AF_PP;
  GPIO_InitStruct.Pull = GPIO_NOPULL;
  GPIO_InitStruct.Speed = GPIO_SPEED_FREQ_VERY_HIGH;
  GPIO_InitStruct.Alternate = GPIO_AF12_FMC;
  HAL_GPIO_Init(GPIOF, &GPIO_InitStruct);

  /*Configure GPIO pins : LCD_HSYNC_Pin LCD_VSYNC_Pin LCD_R0_Pin LCD_CLK_Pin */
  GPIO_InitStruct.Pin = LCD_HSYNC_Pin|LCD_VSYNC_Pin|LCD_R0_Pin|LCD_CLK_Pin;
  GPIO_InitStruct.Mode = GPIO_MODE_AF_PP;
  GPIO_InitStruct.Pull = GPIO_NOPULL;
  GPIO_InitStruct.Speed = GPIO_SPEED_FREQ_LOW;
  GPIO_InitStruct.Alternate = GPIO_AF14_LTDC;
  HAL_GPIO_Init(GPIOI, &GPIO_InitStruct);

  /*Configure GPIO pin : LCD_BL_CTRL_Pin */
  GPIO_InitStruct.Pin = LCD_BL_CTRL_Pin;
  GPIO_InitStruct.Mode = GPIO_MODE_OUTPUT_PP;
  GPIO_InitStruct.Pull = GPIO_NOPULL;
  GPIO_InitStruct.Speed = GPIO_SPEED_FREQ_LOW;
  HAL_GPIO_Init(LCD_BL_CTRL_GPIO_Port, &GPIO_InitStruct);

  /*Configure GPIO pin : DCMI_VSYNC_Pin */
  GPIO_InitStruct.Pin = DCMI_VSYNC_Pin;
  GPIO_InitStruct.Mode = GPIO_MODE_AF_PP;
  GPIO_InitStruct.Pull = GPIO_NOPULL;
  GPIO_InitStruct.Speed = GPIO_SPEED_FREQ_LOW;
  GPIO_InitStruct.Alternate = GPIO_AF13_DCMI;
  HAL_GPIO_Init(DCMI_VSYNC_GPIO_Port, &GPIO_InitStruct);

  /*Configure GPIO pin : OTG_FS_OverCurrent_Pin */
  GPIO_InitStruct.Pin = OTG_FS_OverCurrent_Pin;
  GPIO_InitStruct.Mode = GPIO_MODE_INPUT;
  GPIO_InitStruct.Pull = GPIO_NOPULL;
  HAL_GPIO_Init(OTG_FS_OverCurrent_GPIO_Port, &GPIO_InitStruct);

  /*Configure GPIO pin : SDMMC_D0_Pin */
  GPIO_InitStruct.Pin = SDMMC_D0_Pin;
  GPIO_InitStruct.Mode = GPIO_MODE_AF_PP;
  GPIO_InitStruct.Pull = GPIO_NOPULL;
  GPIO_InitStruct.Speed = GPIO_SPEED_FREQ_VERY_HIGH;
  GPIO_InitStruct.Alternate = GPIO_AF12_SDMMC1;
  HAL_GPIO_Init(SDMMC_D0_GPIO_Port, &GPIO_InitStruct);

  /*Configure GPIO pins : TP3_Pin NC2_Pin */
  GPIO_InitStruct.Pin = TP3_Pin|NC2_Pin;
  GPIO_InitStruct.Mode = GPIO_MODE_INPUT;
  GPIO_InitStruct.Pull = GPIO_NOPULL;
  HAL_GPIO_Init(GPIOH, &GPIO_InitStruct);

  /*Configure GPIO pin : DCMI_PWR_EN_Pin */
  GPIO_InitStruct.Pin = DCMI_PWR_EN_Pin;
  GPIO_InitStruct.Mode = GPIO_MODE_OUTPUT_PP;
  GPIO_InitStruct.Pull = GPIO_NOPULL;
  GPIO_InitStruct.Speed = GPIO_SPEED_FREQ_LOW;
  HAL_GPIO_Init(DCMI_PWR_EN_GPIO_Port, &GPIO_InitStruct);

  /*Configure GPIO pins : DCMI_D4_Pin DCMI_D3_Pin DCMI_D0_Pin DCMI_D2_Pin
                           DCMI_D1_Pin */
  GPIO_InitStruct.Pin = DCMI_D4_Pin|DCMI_D3_Pin|DCMI_D0_Pin|DCMI_D2_Pin
                          |DCMI_D1_Pin;
  GPIO_InitStruct.Mode = GPIO_MODE_AF_PP;
  GPIO_InitStruct.Pull = GPIO_NOPULL;
  GPIO_InitStruct.Speed = GPIO_SPEED_FREQ_LOW;
  GPIO_InitStruct.Alternate = GPIO_AF13_DCMI;
  HAL_GPIO_Init(GPIOH, &GPIO_InitStruct);

  /*Configure GPIO pin : ARDUINO_PWM_CS_D5_Pin */
  GPIO_InitStruct.Pin = ARDUINO_PWM_CS_D5_Pin;
  GPIO_InitStruct.Mode = GPIO_MODE_AF_PP;
  GPIO_InitStruct.Pull = GPIO_NOPULL;
  GPIO_InitStruct.Speed = GPIO_SPEED_FREQ_LOW;
  GPIO_InitStruct.Alternate = GPIO_AF2_TIM5;
  HAL_GPIO_Init(ARDUINO_PWM_CS_D5_GPIO_Port, &GPIO_InitStruct);

  /*Configure GPIO pin : VCP_TX_Pin */
  GPIO_InitStruct.Pin = VCP_TX_Pin;
  GPIO_InitStruct.Mode = GPIO_MODE_AF_PP;
  GPIO_InitStruct.Pull = GPIO_NOPULL;
  GPIO_InitStruct.Speed = GPIO_SPEED_FREQ_LOW;
  GPIO_InitStruct.Alternate = GPIO_AF7_USART1;
  HAL_GPIO_Init(VCP_TX_GPIO_Port, &GPIO_InitStruct);

  /*Configure GPIO pin : ARDUINO_PWM_D10_Pin */
  GPIO_InitStruct.Pin = ARDUINO_PWM_D10_Pin;
  GPIO_InitStruct.Mode = GPIO_MODE_AF_PP;
  GPIO_InitStruct.Pull = GPIO_NOPULL;
  GPIO_InitStruct.Speed = GPIO_SPEED_FREQ_LOW;
  GPIO_InitStruct.Alternate = GPIO_AF1_TIM1;
  HAL_GPIO_Init(ARDUINO_PWM_D10_GPIO_Port, &GPIO_InitStruct);

  /*Configure GPIO pin : LCD_INT_Pin */
  GPIO_InitStruct.Pin = LCD_INT_Pin;
  GPIO_InitStruct.Mode = GPIO_MODE_EVT_RISING;
  GPIO_InitStruct.Pull = GPIO_NOPULL;
  HAL_GPIO_Init(LCD_INT_GPIO_Port, &GPIO_InitStruct);

  /*Configure GPIO pins : ARDUINO_RX_D0_Pin ARDUINO_TX_D1_Pin */
  GPIO_InitStruct.Pin = ARDUINO_RX_D0_Pin|ARDUINO_TX_D1_Pin;
  GPIO_InitStruct.Mode = GPIO_MODE_AF_PP;
  GPIO_InitStruct.Pull = GPIO_NOPULL;
  GPIO_InitStruct.Speed = GPIO_SPEED_FREQ_VERY_HIGH;
  GPIO_InitStruct.Alternate = GPIO_AF8_USART6;
  HAL_GPIO_Init(GPIOC, &GPIO_InitStruct);

  /*Configure GPIO pin : ULPI_NXT_Pin */
  GPIO_InitStruct.Pin = ULPI_NXT_Pin;
  GPIO_InitStruct.Mode = GPIO_MODE_AF_PP;
  GPIO_InitStruct.Pull = GPIO_NOPULL;
  GPIO_InitStruct.Speed = GPIO_SPEED_FREQ_VERY_HIGH;
  GPIO_InitStruct.Alternate = GPIO_AF10_OTG_HS;
  HAL_GPIO_Init(ULPI_NXT_GPIO_Port, &GPIO_InitStruct);

  /*Configure GPIO pins : FMC_SDNME_Pin FMC_SDNE0_Pin */
  GPIO_InitStruct.Pin = FMC_SDNME_Pin|FMC_SDNE0_Pin;
  GPIO_InitStruct.Mode = GPIO_MODE_AF_PP;
  GPIO_InitStruct.Pull = GPIO_NOPULL;
  GPIO_InitStruct.Speed = GPIO_SPEED_FREQ_VERY_HIGH;
  GPIO_InitStruct.Alternate = GPIO_AF12_FMC;
  HAL_GPIO_Init(GPIOH, &GPIO_InitStruct);

  /*Configure GPIO pins : ARDUINO_D4_Pin ARDUINO_D2_Pin EXT_RST_Pin */
  GPIO_InitStruct.Pin = ARDUINO_D4_Pin|ARDUINO_D2_Pin|EXT_RST_Pin;
  GPIO_InitStruct.Mode = GPIO_MODE_OUTPUT_PP;
  GPIO_InitStruct.Pull = GPIO_NOPULL;
  GPIO_InitStruct.Speed = GPIO_SPEED_FREQ_LOW;
  HAL_GPIO_Init(GPIOG, &GPIO_InitStruct);

  /*Configure GPIO pins : ARDUINO_A4_Pin ARDUINO_A5_Pin ARDUINO_A1_Pin ARDUINO_A2_Pin
                           ARDUINO_A3_Pin */
  GPIO_InitStruct.Pin = ARDUINO_A4_Pin|ARDUINO_A5_Pin|ARDUINO_A1_Pin|ARDUINO_A2_Pin
                          |ARDUINO_A3_Pin;
  GPIO_InitStruct.Mode = GPIO_MODE_ANALOG;
  GPIO_InitStruct.Pull = GPIO_NOPULL;
  HAL_GPIO_Init(GPIOF, &GPIO_InitStruct);

  /*Configure GPIO pin : FMC_SDCKE0_Pin */
  GPIO_InitStruct.Pin = FMC_SDCKE0_Pin;
  GPIO_InitStruct.Mode = GPIO_MODE_AF_PP;
  GPIO_InitStruct.Pull = GPIO_NOPULL;
  GPIO_InitStruct.Speed = GPIO_SPEED_FREQ_VERY_HIGH;
  GPIO_InitStruct.Alternate = GPIO_AF12_FMC;
  HAL_GPIO_Init(FMC_SDCKE0_GPIO_Port, &GPIO_InitStruct);

  /*Configure GPIO pins : ULPI_STP_Pin ULPI_DIR_Pin */
  GPIO_InitStruct.Pin = ULPI_STP_Pin|ULPI_DIR_Pin;
  GPIO_InitStruct.Mode = GPIO_MODE_AF_PP;
  GPIO_InitStruct.Pull = GPIO_NOPULL;
  GPIO_InitStruct.Speed = GPIO_SPEED_FREQ_VERY_HIGH;
  GPIO_InitStruct.Alternate = GPIO_AF10_OTG_HS;
  HAL_GPIO_Init(GPIOC, &GPIO_InitStruct);

  /*Configure GPIO pins : RMII_MDC_Pin RMII_RXD0_Pin RMII_RXD1_Pin */
  GPIO_InitStruct.Pin = RMII_MDC_Pin|RMII_RXD0_Pin|RMII_RXD1_Pin;
  GPIO_InitStruct.Mode = GPIO_MODE_AF_PP;
  GPIO_InitStruct.Pull = GPIO_NOPULL;
  GPIO_InitStruct.Speed = GPIO_SPEED_FREQ_VERY_HIGH;
  GPIO_InitStruct.Alternate = GPIO_AF11_ETH;
  HAL_GPIO_Init(GPIOC, &GPIO_InitStruct);

  /*Configure GPIO pin : PB2 */
  GPIO_InitStruct.Pin = GPIO_PIN_2;
  GPIO_InitStruct.Mode = GPIO_MODE_AF_PP;
  GPIO_InitStruct.Pull = GPIO_NOPULL;
  GPIO_InitStruct.Speed = GPIO_SPEED_FREQ_VERY_HIGH;
  GPIO_InitStruct.Alternate = GPIO_AF9_QUADSPI;
  HAL_GPIO_Init(GPIOB, &GPIO_InitStruct);

  /*Configure GPIO pins : QSPI_D1_Pin QSPI_D3_Pin QSPI_D0_Pin */
  GPIO_InitStruct.Pin = QSPI_D1_Pin|QSPI_D3_Pin|QSPI_D0_Pin;
  GPIO_InitStruct.Mode = GPIO_MODE_AF_PP;
  GPIO_InitStruct.Pull = GPIO_NOPULL;
  GPIO_InitStruct.Speed = GPIO_SPEED_FREQ_VERY_HIGH;
  GPIO_InitStruct.Alternate = GPIO_AF9_QUADSPI;
  HAL_GPIO_Init(GPIOD, &GPIO_InitStruct);

  /*Configure GPIO pin : RMII_RXER_Pin */
  GPIO_InitStruct.Pin = RMII_RXER_Pin;
  GPIO_InitStruct.Mode = GPIO_MODE_INPUT;
  GPIO_InitStruct.Pull = GPIO_NOPULL;
  HAL_GPIO_Init(RMII_RXER_GPIO_Port, &GPIO_InitStruct);

  /*Configure GPIO pins : RMII_REF_CLK_Pin RMII_MDIO_Pin RMII_CRS_DV_Pin */
  GPIO_InitStruct.Pin = RMII_REF_CLK_Pin|RMII_MDIO_Pin|RMII_CRS_DV_Pin;
  GPIO_InitStruct.Mode = GPIO_MODE_AF_PP;
  GPIO_InitStruct.Pull = GPIO_NOPULL;
  GPIO_InitStruct.Speed = GPIO_SPEED_FREQ_VERY_HIGH;
  GPIO_InitStruct.Alternate = GPIO_AF11_ETH;
  HAL_GPIO_Init(GPIOA, &GPIO_InitStruct);

  /*Configure GPIO pin : ARDUINO_A0_Pin */
  GPIO_InitStruct.Pin = ARDUINO_A0_Pin;
  GPIO_InitStruct.Mode = GPIO_MODE_ANALOG;
  GPIO_InitStruct.Pull = GPIO_NOPULL;
  HAL_GPIO_Init(ARDUINO_A0_GPIO_Port, &GPIO_InitStruct);

  /*Configure GPIO pins : DCMI_HSYNC_Pin PA6 */
  GPIO_InitStruct.Pin = DCMI_HSYNC_Pin|GPIO_PIN_6;
  GPIO_InitStruct.Mode = GPIO_MODE_AF_PP;
  GPIO_InitStruct.Pull = GPIO_NOPULL;
  GPIO_InitStruct.Speed = GPIO_SPEED_FREQ_LOW;
  GPIO_InitStruct.Alternate = GPIO_AF13_DCMI;
  HAL_GPIO_Init(GPIOA, &GPIO_InitStruct);

  /*Configure GPIO pins : LCD_SCL_Pin LCD_SDA_Pin */
  GPIO_InitStruct.Pin = LCD_SCL_Pin|LCD_SDA_Pin;
  GPIO_InitStruct.Mode = GPIO_MODE_AF_OD;
  GPIO_InitStruct.Pull = GPIO_PULLUP;
  GPIO_InitStruct.Speed = GPIO_SPEED_FREQ_VERY_HIGH;
  GPIO_InitStruct.Alternate = GPIO_AF4_I2C3;
  HAL_GPIO_Init(GPIOH, &GPIO_InitStruct);

  /*Configure GPIO pins : ULPI_CLK_Pin ULPI_D0_Pin */
  GPIO_InitStruct.Pin = ULPI_CLK_Pin|ULPI_D0_Pin;
  GPIO_InitStruct.Mode = GPIO_MODE_AF_PP;
  GPIO_InitStruct.Pull = GPIO_NOPULL;
  GPIO_InitStruct.Speed = GPIO_SPEED_FREQ_VERY_HIGH;
  GPIO_InitStruct.Alternate = GPIO_AF10_OTG_HS;
  HAL_GPIO_Init(GPIOA, &GPIO_InitStruct);

  /*Configure GPIO pin : ARDUINO_PWM_D6_Pin */
  GPIO_InitStruct.Pin = ARDUINO_PWM_D6_Pin;
  GPIO_InitStruct.Mode = GPIO_MODE_AF_PP;
  GPIO_InitStruct.Pull = GPIO_NOPULL;
  GPIO_InitStruct.Speed = GPIO_SPEED_FREQ_LOW;
  GPIO_InitStruct.Alternate = GPIO_AF9_TIM12;
  HAL_GPIO_Init(ARDUINO_PWM_D6_GPIO_Port, &GPIO_InitStruct);

}

void Error_Handler(void)
{
  __disable_irq();
  while (1)
  {
  }
}

/************************ (C) COPYRIGHT STMicroelectronics *****END OF FILE****/
